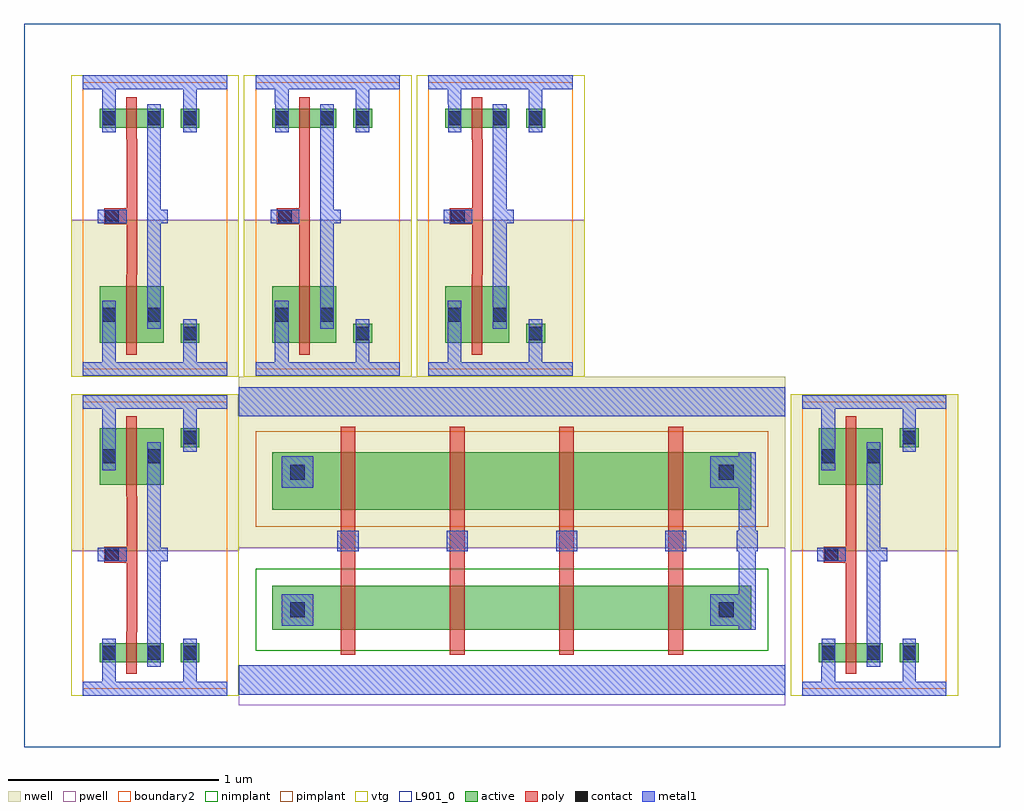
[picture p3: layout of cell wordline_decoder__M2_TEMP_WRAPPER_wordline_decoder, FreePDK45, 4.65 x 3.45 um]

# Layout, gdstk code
import gdstk
lib = gdstk.Library(unit=1e-6, precision=1e-09)
def R(c, l, rs):  # rectangles x0, y0, x1, y1
    for r in rs: c.add(gdstk.rectangle(r[:2], r[2:], *l))
def A(c, l, x, y, w, h, nx, ny, dx, dy):  # array of equal rectangles
    R(c, l, [(x+i*dx, y+j*dy, x+i*dx+w, y+j*dy+h) for i in range(nx) for j in range(ny)])
active = (1, 0)
pwell = (2, 0)
nwell = (3, 0)
nimplant = (4, 0)
pimplant = (5, 0)
vtg = (6, 0)
poly = (9, 0)
contact = (10, 0)
metal1 = (11, 0)
boundary2 = (239, 0)
L901_0 = (901, 0)

wordline_decoder__wordli = lib.new_cell('wordline_decoder__wordline_decoder__sram_1rw_32x16_freepdk45_contact_11')
R(wordline_decoder__wordli, active, [(0,0.022,0.09,0.112)])
R(wordline_decoder__wordli, nwell, [(-0.055,-0.033,0.145,0.168)])
R(wordline_decoder__wordli, pimplant, [(0,0.022,0.09,0.112)])
R(wordline_decoder__wordli, contact, [(0.013,0.035,0.077,0.1)])
R(wordline_decoder__wordli, metal1, [(0.013,0,0.077,0.135)])
R(wordline_decoder__wordli, boundary2, [(-0.055,-0.033,0.145,0.168)])

c_wordline_decoder__wordli = lib.new_cell('wordline_decoder__wordline_decoder__sram_1rw_32x16_freepdk45_pmos_m1_w0_270_sm1_dm1_da_p')
R(c_wordline_decoder__wordli, active, [(0,0,0.305,0.27)])
R(c_wordline_decoder__wordli, nwell, [(-0.08,-0.08,0.385,0.35)])
R(c_wordline_decoder__wordli, pimplant, [(0,0,0.305,0.27)])
R(c_wordline_decoder__wordli, vtg, [(-0.08,-0.08,0.385,0.35)])
R(c_wordline_decoder__wordli, poly, [(0.127,-0.055,0.177,0.325), (0.127,-0.055,0.177,0.325)])
R(c_wordline_decoder__wordli, metal1, [(0.013,0.068,0.077,0.203), (0.227,0.068,0.292,0.203)])
R(c_wordline_decoder__wordli, boundary2, [(-0.08,-0.08,0.385,0.35)])
c_wordline_decoder__wordli.add(gdstk.Reference(wordline_decoder__wordli, (0,0.068)))
c_wordline_decoder__wordli.add(gdstk.Reference(wordline_decoder__wordli, (0.215,0.068)))
c_wordline_decoder__wordli.add(gdstk.Label('G', (0.152,0.135), layer=9, texttype=0))
c_wordline_decoder__wordli.add(gdstk.Label('S', (0.045,0.135), layer=11, texttype=0))
c_wordline_decoder__wordli.add(gdstk.Label('D', (0.26,0.135), layer=11, texttype=0))

c_wordline_decoder__wordli_ = lib.new_cell('wordline_decoder__wordline_decoder__sram_1rw_32x16_freepdk45_contact_10')
R(c_wordline_decoder__wordli_, active, [(0,0.022,0.09,0.112)])
R(c_wordline_decoder__wordli_, pwell, [(-0.055,-0.033,0.145,0.168)])
R(c_wordline_decoder__wordli_, nimplant, [(0,0.022,0.09,0.112)])
R(c_wordline_decoder__wordli_, contact, [(0.013,0.035,0.077,0.1)])
R(c_wordline_decoder__wordli_, metal1, [(0.013,0,0.077,0.135)])
R(c_wordline_decoder__wordli_, boundary2, [(-0.055,-0.033,0.145,0.168)])

c_wordline_decoder__wordli__ = lib.new_cell('wordline_decoder__wordline_decoder__sram_1rw_32x16_freepdk45_nmos_m1_w0_090_sm1_dm1_da_p')
R(c_wordline_decoder__wordli__, active, [(0,0,0.305,0.09)])
R(c_wordline_decoder__wordli__, pwell, [(-0.08,-0.08,0.385,0.17)])
R(c_wordline_decoder__wordli__, nimplant, [(0,0,0.305,0.09)])
R(c_wordline_decoder__wordli__, vtg, [(-0.08,-0.08,0.385,0.17)])
R(c_wordline_decoder__wordli__, poly, [(0.127,-0.055,0.177,0.145), (0.127,-0.055,0.177,0.145)])
R(c_wordline_decoder__wordli__, metal1, [(0.013,-0.022,0.077,0.112), (0.227,-0.022,0.292,0.112)])
R(c_wordline_decoder__wordli__, boundary2, [(-0.08,-0.08,0.385,0.17)])
c_wordline_decoder__wordli__.add(gdstk.Reference(c_wordline_decoder__wordli_, (0,-0.022)))
c_wordline_decoder__wordli__.add(gdstk.Reference(c_wordline_decoder__wordli_, (0.215,-0.022)))
c_wordline_decoder__wordli__.add(gdstk.Label('G', (0.152,0.045), layer=9, texttype=0))
c_wordline_decoder__wordli__.add(gdstk.Label('S', (0.045,0.045), layer=11, texttype=0))
c_wordline_decoder__wordli__.add(gdstk.Label('D', (0.26,0.045), layer=11, texttype=0))

c_wordline_decoder__wordli___ = lib.new_cell('wordline_decoder__wordline_decoder__sram_1rw_32x16_freepdk45_contact_12')
R(c_wordline_decoder__wordli___, active, [(0,0.022,0.09,0.112)])
R(c_wordline_decoder__wordli___, nwell, [(-0.055,-0.033,0.145,0.168)])
R(c_wordline_decoder__wordli___, nimplant, [(0,0.022,0.09,0.112)])
R(c_wordline_decoder__wordli___, contact, [(0.013,0.035,0.077,0.1)])
R(c_wordline_decoder__wordli___, metal1, [(0.013,0,0.077,0.135)])
R(c_wordline_decoder__wordli___, boundary2, [(-0.055,-0.033,0.145,0.168)])

c_wordline_decoder__wordli____ = lib.new_cell('wordline_decoder__wordline_decoder__sram_1rw_32x16_freepdk45_contact_13')
R(c_wordline_decoder__wordli____, active, [(0,0.022,0.09,0.112)])
R(c_wordline_decoder__wordli____, pwell, [(-0.055,-0.033,0.145,0.168)])
R(c_wordline_decoder__wordli____, pimplant, [(0,0.022,0.09,0.112)])
R(c_wordline_decoder__wordli____, contact, [(0.013,0.035,0.077,0.1)])
R(c_wordline_decoder__wordli____, metal1, [(0.013,0,0.077,0.135)])
R(c_wordline_decoder__wordli____, boundary2, [(-0.055,-0.033,0.145,0.168)])

c_wordline_decoder__wordli_____ = lib.new_cell('wordline_decoder__wordline_decoder__sram_1rw_32x16_freepdk45_contact_14')
R(c_wordline_decoder__wordli_____, poly, [(0.03,0,0.105,0.075)])
R(c_wordline_decoder__wordli_____, contact, [(0.035,0.005,0.1,0.07)])
R(c_wordline_decoder__wordli_____, metal1, [(0,0.005,0.135,0.07)])
R(c_wordline_decoder__wordli_____, boundary2, [(0,0,0.135,0.075)])

c_wordline_decoder__wordli______ = lib.new_cell('wordline_decoder__wordline_decoder__gen_inv')
R(c_wordline_decoder__wordli______, pwell, [(-0.055,-0.033,0.743,0.655)])
R(c_wordline_decoder__wordli______, nwell, [(-0.055,0.655,0.743,1.4)])
R(c_wordline_decoder__wordli______, vtg, [(-0.055,-0.033,0.743,0.655), (-0.055,0.655,0.743,1.4)])
R(c_wordline_decoder__wordli______, poly, [(0.208,0.27,0.258,0.915), (0.14,0.6,0.208,0.675)])
R(c_wordline_decoder__wordli______, metal1, [(0,-0.033,0.687,0.033), (0.092,-0.033,0.157,0.103), (0.478,0,0.542,0.17), (0.307,0.103,0.372,1.173), (0.072,0.605,0.208,0.67), (0.34,0.605,0.405,0.67), (0.092,1.038,0.157,1.397), (0.478,1.195,0.542,1.365), (0,1.332,0.687,1.397)])
R(c_wordline_decoder__wordli______, boundary2, [(0,0,0.687,1.365), (0,0,0.687,1.365)])
c_wordline_decoder__wordli______.add(gdstk.Reference(c_wordline_decoder__wordli, (0.08,0.97)))
c_wordline_decoder__wordli______.add(gdstk.Reference(c_wordline_decoder__wordli__, (0.08,0.125)))
c_wordline_decoder__wordli______.add(gdstk.Reference(c_wordline_decoder__wordli___, (0.465,1.127)))
c_wordline_decoder__wordli______.add(gdstk.Reference(c_wordline_decoder__wordli____, (0.465,0.103)))
c_wordline_decoder__wordli______.add(gdstk.Reference(c_wordline_decoder__wordli_____, (0.072,0.6)))
c_wordline_decoder__wordli______.add(gdstk.Label('A', (0.14,0.638), layer=11, texttype=0))
c_wordline_decoder__wordli______.add(gdstk.Label('Z', (0.372,0.638), layer=11, texttype=0))
c_wordline_decoder__wordli______.add(gdstk.Label('gnd', (0.345,0), layer=11, texttype=0))
c_wordline_decoder__wordli______.add(gdstk.Label('vdd', (0.345,1.365), layer=11, texttype=0))

c_wordline_decoder__wordli_______ = lib.new_cell('wordline_decoder__wordline_decoder__gen_nand4')
R(c_wordline_decoder__wordli_______, active, [(0.16,0.36,2.44,0.57), (0.16,0.93,2.44,1.205)])
R(c_wordline_decoder__wordli_______, pwell, [(0,0,2.6,0.75)])
R(c_wordline_decoder__wordli_______, nwell, [(0,0.75,2.6,1.565)])
R(c_wordline_decoder__wordli_______, nimplant, [(0.08,0.26,2.52,0.65)])
R(c_wordline_decoder__wordli_______, pimplant, [(0.08,0.85,2.52,1.305)])
A(c_wordline_decoder__wordli_______, poly, 0.485, 0.24, 0.07, 1.085, 4, 1, 0.52, 0)
R(c_wordline_decoder__wordli_______, contact, [(0.245,0.42,0.315,0.49), (2.285,0.42,2.355,0.49), (0.245,1.075,0.315,1.145), (2.285,1.075,2.355,1.145)])
A(c_wordline_decoder__wordli_______, metal1, 0.47, 0.733, 0.1, 0.099, 4, 1, 0.52, 0)
R(c_wordline_decoder__wordli_______, metal1, [(0,0.05,2.6,0.19), (1.25,0.07,1.35,0.17), (2.38,0.36,2.46,1.205), (0.205,0.38,0.355,0.53), (2.245,0.38,2.395,0.53), (2.37,0.733,2.47,0.832), (0.205,1.035,0.355,1.185), (2.245,1.035,2.395,1.185), (0,1.375,2.6,1.515), (1.25,1.395,1.35,1.495)])

c_wordline_decoder__wordli________ = lib.new_cell('wordline_decoder__wordline_decoder__wordline_decoder')
c_wordline_decoder__wordli________.add(gdstk.Reference(c_wordline_decoder__wordli______, (0.08,0.08)))
c_wordline_decoder__wordli________.add(gdstk.Reference(c_wordline_decoder__wordli_______, (0.822,0)))
c_wordline_decoder__wordli________.add(gdstk.Reference(c_wordline_decoder__wordli______, (3.503,0.08)))
c_wordline_decoder__wordli________.add(gdstk.Reference(c_wordline_decoder__wordli______, (0.08,2.965), x_reflection=True))
c_wordline_decoder__wordli________.add(gdstk.Reference(c_wordline_decoder__wordli______, (0.902,2.965), x_reflection=True))
c_wordline_decoder__wordli________.add(gdstk.Reference(c_wordline_decoder__wordli______, (1.725,2.965), x_reflection=True))

wordline_decoder__m2_tem = lib.new_cell('wordline_decoder__M2_TEMP_WRAPPER_wordline_decoder')
R(wordline_decoder__m2_tem, L901_0, [(-0.2,-0.2,4.445,3.245)])
wordline_decoder__m2_tem.add(gdstk.Reference(c_wordline_decoder__wordli________, (0,0)))
wordline_decoder__m2_tem.add(gdstk.Label('TEMP_WRAPPER_FOR_M2_REVIEW', (0,3.545), layer=900, texttype=0))
wordline_decoder__m2_tem.add(gdstk.Label('wordline_decoder candidate composite', (0,4.145), layer=900, texttype=0))

lib.write_gds('wordline_decoder__M2_TEMP_WRAPPER_wordline_decoder.gds')
